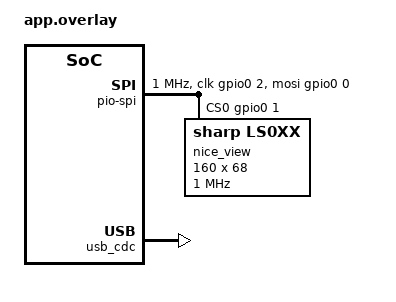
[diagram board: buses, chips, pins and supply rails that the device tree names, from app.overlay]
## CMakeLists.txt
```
cmake_minimum_required(VERSION 3.20.0)

find_package(Zephyr REQUIRED HINTS $ENV{ZEPHYR_BASE})
project(zephyr_graz_display)

target_sources(app PRIVATE src/main.c)
```

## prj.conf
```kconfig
CONFIG_LOG=y
# Log to UART over USB CDC
CONFIG_USB_DEVICE_STACK=y
CONFIG_USB_DEVICE_INITIALIZE_AT_BOOT=y
CONFIG_SERIAL=y
CONFIG_CONSOLE=y
CONFIG_UART_CONSOLE=y
CONFIG_UART_LINE_CTRL=y

CONFIG_LED_STRIP=y
CONFIG_LED_STRIP_LOG_LEVEL_DBG=y

CONFIG_DISPLAY=y
CONFIG_DISPLAY_LOG_LEVEL_DBG=y
```

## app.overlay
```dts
#include <zephyr/dt-bindings/gpio/gpio.h>
#include <zephyr/dt-bindings/led/led.h>

/ {
        aliases {
                led-strip = &ws2812;
                nice-view = &nice_view;
        };
        chosen {
                zephyr,display = &nice_view;
                zephyr,console = &usb_cdc;
        };
};

&pinctrl {
        ws2812_pio0_default: ws2812_pio0_default {
                ws2812 {
                        pinmux = <PIO0_P16>;
                };
        };
        nice_view_pinctrl: nice_view_pinctrl {
                group1 {
                        // clk, mosi
                        pinmux = <PIO0_P2>, <PIO0_P0>;
                };
        };
};

&pio0 {
        status = "okay";

        pio-ws2812 {
                compatible = "worldsemi,ws2812-rpi_pico-pio";
                status = "okay";
                pinctrl-0 = <&ws2812_pio0_default>;
                pinctrl-names = "default";
                bit-waveform = <3>, <3>, <4>;

                ws2812: ws2812 {
                        status = "okay";
                        gpios = <&gpio0 16 GPIO_ACTIVE_HIGH>;
                        chain-length = <1>;
                        color-mapping = <LED_COLOR_ID_RED
                                         LED_COLOR_ID_GREEN
                                         LED_COLOR_ID_BLUE>;
                        reset-delay = <280>;
                        frequency = <800000>;
                };
        };
};

&pio1 {
        status = "okay";
        pio-spi {
                compatible = "raspberrypi,pico-spi-pio";
                #address-cells = <1>;
                #size-cells = <0>;
                clocks = <&clocks RPI_PICO_CLKID_CLK_SYS>;
                clock-frequency = <1000000>;
                pinctrl-0 = <&nice_view_pinctrl>;
                pinctrl-names = "default";
                cs-gpios = <&gpio0 1 GPIO_ACTIVE_HIGH>;
                clk-gpios = <&gpio0 2 GPIO_ACTIVE_HIGH>;
                mosi-gpios = <&gpio0 0 GPIO_ACTIVE_HIGH>;
                nice_view: nice-view@0 {
                        compatible = "sharp,ls0xx";
                        reg = <0>;
                        width = <160>;
                        height = <68>;
                        spi-max-frequency = <1000000>;
                        /delete-property/ spi-cpol; // CPOL 0
                        /delete-property/ spi-cpha; // CPHA 0
                };
        };
};

// Enable debugging over UART over USB (USB CDC)
&zephyr_udc0 {
        usb_cdc: usb_cdc_0 {
                compatible = "zephyr,cdc-acm-uart";
        };
};
```

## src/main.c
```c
#include <stdlib.h>

#define LOG_LEVEL 4
#include <zephyr/logging/log.h>
LOG_MODULE_REGISTER(main);

#include <zephyr/kernel.h>
#include <zephyr/device.h>
#include <zephyr/drivers/led_strip.h>
#include <zephyr/drivers/display.h>

#if DT_NODE_HAS_PROP(DT_ALIAS(led_strip), chain_length)
#define STRIP_NUM_PIXELS DT_PROP(DT_ALIAS(led_strip), chain_length)
#else
#error Unable to determine length of LED strip
#endif

#define DELAY_TIME K_MSEC(200)

#define RGB(_r, _g, _b) { .r = (_r), .g = (_g), .b = (_b) }

static const struct led_rgb colors[] = {
	RGB(0x0f, 0x00, 0x00),
	RGB(0x00, 0x0f, 0x00),
	RGB(0x00, 0x00, 0x0f),
};

static struct led_rgb pixels[STRIP_NUM_PIXELS];
static const struct device *const strip = DEVICE_DT_GET(DT_ALIAS(led_strip));

static const struct device *const display = DEVICE_DT_GET(DT_ALIAS(nice_view));

enum corner {
	TOP_LEFT,
	TOP_RIGHT,
	BOTTOM_RIGHT,
	BOTTOM_LEFT
};

typedef void (*fill_buffer)(enum corner corner, uint8_t grey, uint8_t *buf,
			    size_t buf_size);

static void fill_buffer_mono(enum corner corner, uint8_t grey,
			     uint8_t black, uint8_t white,
			     uint8_t *buf, size_t buf_size)
{
	uint16_t color;

	switch (corner) {
	case BOTTOM_LEFT:
		color = (grey & 0x01u) ? white : black;
		break;
	default:
		color = black;
		break;
	}

	memset(buf, color, buf_size);
}

static inline void fill_buffer_mono01(enum corner corner, uint8_t grey,
				      uint8_t *buf, size_t buf_size)
{
	fill_buffer_mono(corner, grey, 0x00u, 0xFFu, buf, buf_size);
}

static void led_thread_fn(void *a, void *b, void *c)
{
	size_t color = 0;
	int rc;
	while (1) {
		for (size_t cursor = 0; cursor < ARRAY_SIZE(pixels); cursor++) {
			memset(&pixels, 0, sizeof(pixels));
			memcpy(&pixels[cursor], &colors[color], sizeof(struct led_rgb));

			rc = led_strip_update_rgb(strip, pixels, STRIP_NUM_PIXELS);
			if (rc) {
				LOG_ERR("couldn't update strip: %d", rc);
			}

			k_sleep(DELAY_TIME);
		}
		color = (color + 1) & ARRAY_SIZE(colors);
	}
}
K_THREAD_STACK_DEFINE(led_thread_stack, 256);
struct k_thread led_thread;

int main(void)
{
	size_t x;
	size_t y;
	size_t h_step;
	size_t grey_count;
	uint8_t bg_color;
	uint8_t *buf;
	int32_t grey_scale_sleep;
	struct display_capabilities capabilities;
	struct display_buffer_descriptor buf_desc;
	size_t buf_size = 0;
	fill_buffer fill_buffer_fnc = NULL;

	if (device_is_ready(strip)) {
		LOG_INF("Found LED device %s", strip->name);
	} else {
		LOG_ERR("LED device %s is not ready", strip->name);
		return 0;
	}

	k_tid_t led_tid = k_thread_create(&led_thread,
			led_thread_stack,
			K_THREAD_STACK_SIZEOF(led_thread_stack),
			led_thread_fn,
			NULL, NULL, NULL,
			3, 0, K_NO_WAIT);

	if (device_is_ready(display)) {
		LOG_INF("Found display device %s", display->name);
	} else {
		LOG_ERR("display device %s is not ready", display->name);
		return 0;
	}

	display_get_capabilities(display, &capabilities);

	if (capabilities.screen_info & SCREEN_INFO_EPD) {
		grey_scale_sleep = 10000;
	} else {
		grey_scale_sleep = 100;
	}

	buf_size = (capabilities.x_resolution * capabilities.y_resolution) / 8;

	bg_color = 0xFFu;
	fill_buffer_fnc = fill_buffer_mono01;

	buf = malloc(buf_size);

	if (buf == NULL) {
		LOG_ERR("Could not allocate memory. Aborting app.");
		return 0;
	}

	(void)memset(buf, bg_color, buf_size);

	buf_desc.buf_size = buf_size;
	buf_desc.height = 8;
	buf_desc.pitch = capabilities.x_resolution;
	buf_desc.width = capabilities.x_resolution;

	fill_buffer_fnc(TOP_LEFT, 0, buf, buf_size);
	x = 0;
	y = 0;
	display_write(display, x, y, &buf_desc, buf);

	display_blanking_off(display);

	grey_count = 0;
	x = 0;
	y = 0;

	while (1) {
		fill_buffer_fnc(BOTTOM_LEFT, grey_count, buf, buf_size);
		display_write(display, x, y, &buf_desc, buf);
		++grey_count;
		k_msleep(grey_scale_sleep);
		buf_desc.height += 8;
		buf_desc.height = buf_desc.height % 68;
	}

	return 0;
}
```
